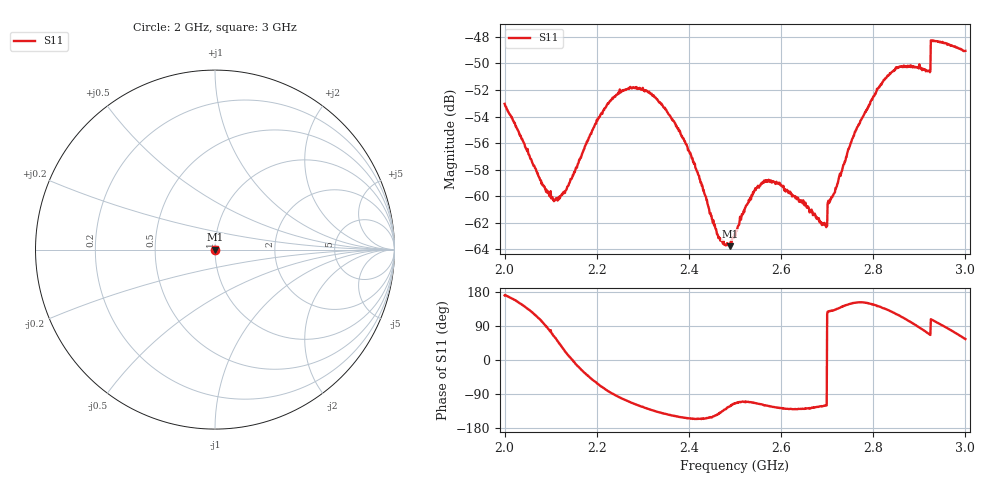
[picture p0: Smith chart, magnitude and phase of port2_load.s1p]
!Created with skrf (http://scikit-rf.org).
# GHz S RI R 50.0
!freq ReS11 ImS11
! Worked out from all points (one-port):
!   1001 points, 2 GHz to 3 GHz, reference 50 ohm
!   lowest |S11| = -63.8 dB at 2.49 GHz (marker M1), VSWR 1.00, Z = 50 - j0.0554 ohm
!   |S11| at or under -10 dB: start of sweep to end of sweep
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2  -0.0022 0.000364
2.085  -0.000113 0.00108
2.106  0.000428 0.000873
2.125  0.000848 0.000553
2.205  0.000815 -0.00181
2.25  -0.000384 -0.00249
2.277  -0.00104 -0.00234
2.314  -0.00159 -0.00189
2.375  -0.00155 -0.000924
2.408  -0.00126 -0.000575
2.463  -0.000572 -0.000423
2.477  -0.00043 -0.000496
2.49  -0.000336 -0.000554
2.5  -0.000305 -0.000651
2.541  -0.000404 -0.000962
2.562  -0.000548 -0.000979
2.595  -0.000657 -0.000911
2.625  -0.00065 -0.00077
2.695  -0.000403 -0.000671
2.706  -0.000608 0.000736
2.718  -0.000728 0.000787
2.75  -0.00133 0.000816
2.821  -0.00199 0.00183
2.852  -0.00152 0.00263
2.875  -0.000757 0.00301
2.919  0.001 0.0028
2.93  -0.000964 0.00371
3  0.00201 0.00289
